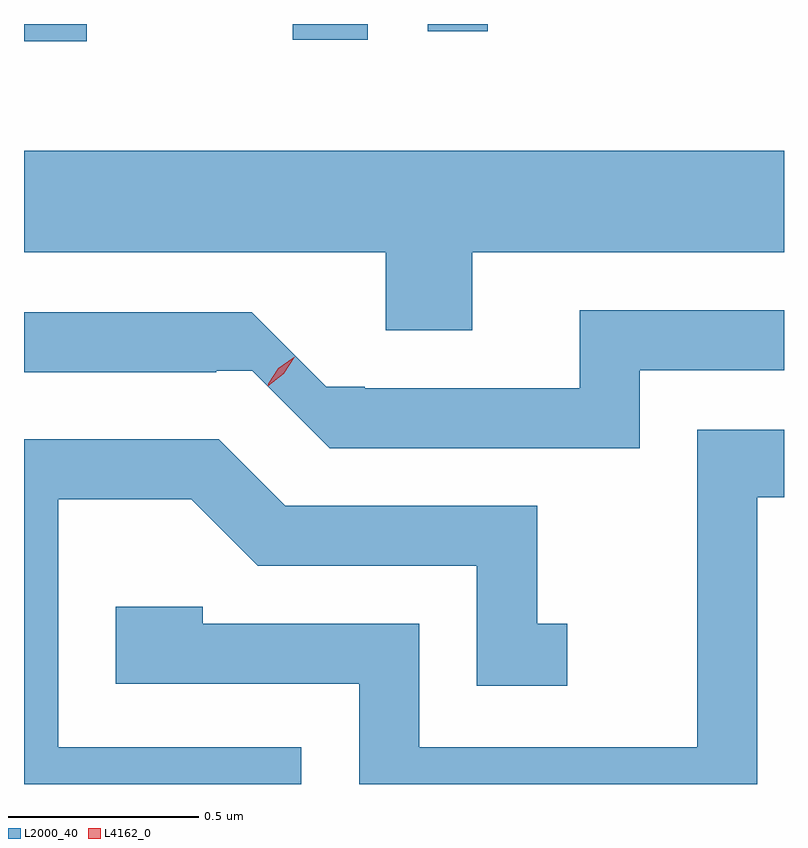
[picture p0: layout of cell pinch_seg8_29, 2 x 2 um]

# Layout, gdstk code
import gdstk
lib = gdstk.Library(unit=1e-6, precision=1e-09)
def R(c, l, rs):  # rectangles x0, y0, x1, y1
    for r in rs: c.add(gdstk.rectangle(r[:2], r[2:], *l))
def P(c, l, *ps):  # polygons
    for p in ps: c.add(gdstk.Polygon(p, *l))
L2000_40 = (2000, 40)
L4162_0 = (4162, 0)

pinch_seg8_29 = lib.new_cell('pinch_seg8_29')
R(pinch_seg8_29, L2000_40, [(856.909,1885.811,857.074,1885.857), (857.616,1885.816,857.814,1885.857), (857.971,1885.838,858.129,1885.857)])
P(pinch_seg8_29, L2000_40, [(858.089,1885.256),(858.909,1885.256),(858.909,1885.524),(856.909,1885.524),(856.909,1885.256),(857.861,1885.256),(857.861,1885.051),(858.089,1885.051)],
  [(858.529,1884.946),(858.909,1884.946),(858.909,1885.104),(858.371,1885.104),(858.371,1884.899),(857.806,1884.899),(857.806,1884.903),(857.704,1884.903),(857.508,1885.099),(856.909,1885.099),(856.909,1884.941),(857.415,1884.941),(857.415,1884.945),(857.51,1884.945),(857.714,1884.741),(858.529,1884.741)],
  [(858.839,1884.611),(858.909,1884.611),(858.909,1884.789),(858.681,1884.789),(858.681,1883.954),(857.949,1883.954),(857.949,1884.279),(857.379,1884.279),(857.379,1884.324),(857.151,1884.324),(857.151,1884.121),(857.791,1884.121),(857.791,1883.857),(858.839,1883.857)],
  [(857.639,1883.954),(856.999,1883.954),(856.999,1884.606),(857.349,1884.606),(857.524,1884.431),(858.101,1884.431),(858.101,1884.116),(858.338,1884.116),(858.338,1884.279),(858.259,1884.279),(858.259,1884.589),(857.597,1884.589),(857.422,1884.764),(856.909,1884.764),(856.909,1883.857),(857.639,1883.857)])
P(pinch_seg8_29, L4162_0, [(857.55,1884.904),(857.55,1884.905),(857.578,1884.95),(857.621,1884.982),(857.622,1884.982),(857.622,1884.982),(857.593,1884.936),(857.551,1884.904)],
  [(857.552,1884.909),(857.552,1884.91),(857.578,1884.951),(857.618,1884.979),(857.619,1884.979),(857.619,1884.978),(857.592,1884.937),(857.553,1884.909)])

lib.write_gds('pinch_seg8_29.gds')
